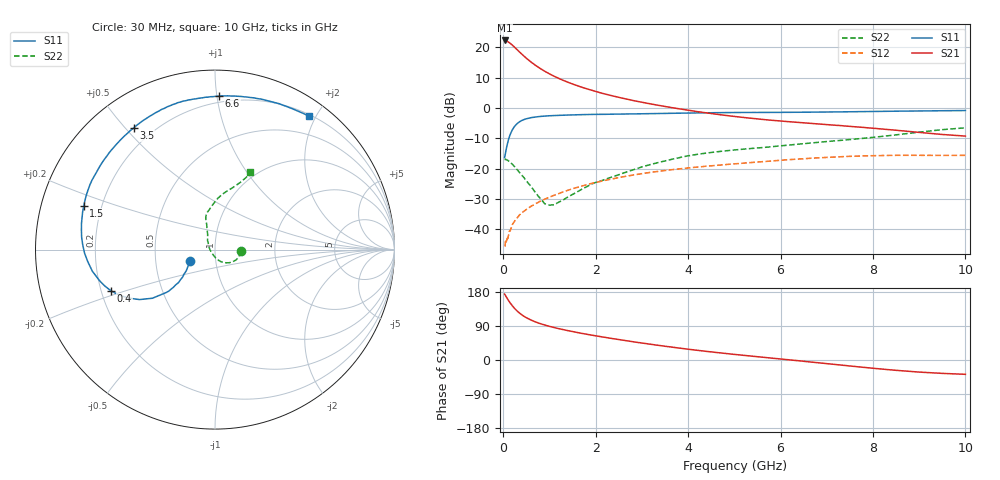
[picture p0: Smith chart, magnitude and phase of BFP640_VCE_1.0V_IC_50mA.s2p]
! Infineon Technologies  Discrete & RF Semiconductors
! BFP640
! VCE =  1.0 V,  IC =  50 mA
! Common Emitter S-Parameters:  Apr 2013
# GHz  S  MA  R  50
!  f  S11  S21  S12  S22
! GHz  MAG  ANG  MAG  ANG  MAG  ANG  MAG  ANG
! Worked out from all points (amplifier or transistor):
!   99 points, 30 MHz to 10 GHz, reference 50 ohm
!   highest |S21| = 22.3 dB at 30 MHz (marker M1)
!   |S21| within 3 dB of that: start of sweep to 298.2 MHz
!   unconditionally stable (mu >= 1): start of sweep to end of sweep
!   at 350 MHz: K = 2.24, MAG = 20.6 dB, |S12| = -35.2 dB
!   at 3.5 GHz: K = 1.81, MAG = 5.3 dB, |S12| = -20.6 dB
!   at 10 GHz: K = 1.62, MAG = -1.4 dB, |S12| = -15.6 dB
!   S11 on the Smith chart (normalised r, x): 30 MHz: 0.75, -0.10; 400 MHz: 0.24, -0.18; 1.5 GHz: 0.13, +0.16; 3.5 GHz: 0.13, +0.53; 6.6 GHz: 0.16, +1.01; 10 GHz: 0.22, +1.91
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0.03  0.1528 -155.8  12.99 173.9  0.0053 22.7  0.1425 -3.8
0.07  0.2191 -141.7  12.7 165.7  0.0064 27.5  0.1401 -12.3
0.11  0.2947 -138.1  12.25 157.9  0.0078 47.4  0.1355 -20.6
0.15  0.3653 -138.8  11.66 150.7  0.0094 50.4  0.1278 -27.9
0.2  0.4423 -142.2  10.83 142.6  0.0121 53.5  0.118 -36.3
0.25  0.5044 -146.5  9.984 135.5  0.0138 51.2  0.1074 -43.0
0.3  0.5532 -150.8  9.169 129.4  0.0154 53.2  0.0969 -49.4
0.4  0.623 -158.3  7.76 119.4  0.0187 53.7  0.0786 -61.2
0.5  0.6654 -164.8  6.627 111.6  0.0213 54.7  0.0633 -71.0
0.6  0.6938 -170.0  5.743 105.5  0.024 54.4  0.0512 -81.6
0.8  0.7272 -178.5  4.489 96.0  0.0291 55.5  0.0324 -106.5
1.1  0.7519 171.8  3.35 85.7  0.0365 55.9  0.0254 -165.4
1.5  0.7706 161.5  2.491 75.1  0.0468 55.1  0.0377 152.8
1.7  0.7787 156.9  2.205 70.3  0.0518 54.0  0.046 141.2
2.4  0.7932 143.1  1.565 55.9  0.069 48.9  0.0752 123.8
3.4  0.8141 125.4  1.095 38.0  0.0914 39.9  0.1291 110.6
3.5  0.8154 123.7  1.062 36.3  0.0935 39.0  0.1345 109.6
5.1  0.8445 103.1  0.713 13.6  0.1219 24.9  0.207 102.7
6.6  0.8546 88.5  0.563 -4.7  0.1479 11.5  0.263 90.6
6.7  0.8568 87.4  0.556 -5.9  0.1496 10.5  0.2674 89.8
8.5  0.8877 66.4  0.431 -27.3  0.1664 -7.9  0.3615 73.7
10  0.9101 54.8  0.345 -37.8  0.1662 -18.0  0.4726 65.7
